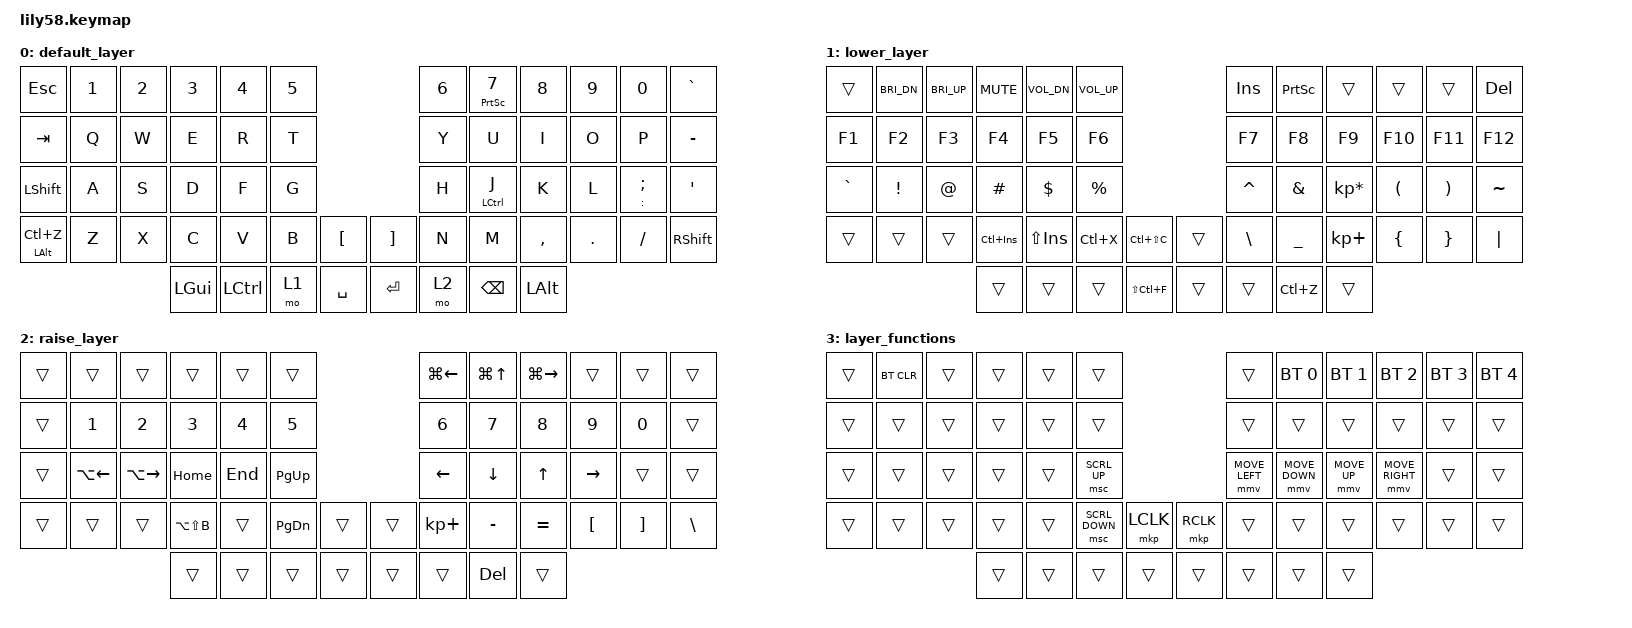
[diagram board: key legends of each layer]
/*
 * Copyright (c) 2020 The ZMK Contributors
 *
 * SPDX-License-Identifier: MIT
 */

#include <behaviors.dtsi>
#include <dt-bindings/zmk/bt.h>
#include <dt-bindings/zmk/keys.h>
#include <dt-bindings/zmk/pointing.h>
#include <dt-bindings/zmk/pointing.h>
#include <dt-bindings/zmk/pointing.h>

/ {
    combos {
        compatible = "zmk,combos";

        move-left-screen {
            bindings = <&kp LA(LC(LEFT))>;
            key-positions = <53>;
            layers = <3>;
        };

        move-right-screen {
            bindings = <&kp LA(LC(RIGHT))>;
            key-positions = <54>;
            layers = <3>;
        };

        copy-fn {
            bindings = <&kp LS(LC(C))>;
            key-positions = <39>;
            layers = <1>;
        };

        paste-fn {
            bindings = <&kp LS(LC(V))>;
            key-positions = <40>;
            layers = <1>;
        };

        left-brackets {
            bindings = <&kp LEFT_BRACE>;
            key-positions = <15 16>;
            layers = <0>;
        };

        right-brace {
            bindings = <&kp RIGHT_BRACE>;
            key-positions = <19 20>;
            layers = <0>;
        };

        pipe {
            bindings = <&kp PIPE>;
            key-positions = <26 27>;
            layers = <0>;
        };

        back-slash {
            bindings = <&kp BACKSLASH>;
            key-positions = <32 33>;
            layers = <0>;
        };

        left-parentses {
            bindings = <&kp LEFT_PARENTHESIS>;
            key-positions = <39 40>;
            layers = <0>;
        };

        right-parentses {
            bindings = <&kp RIGHT_PARENTHESIS>;
            key-positions = <45 46>;
            layers = <0>;
        };
    };

    behaviors {
        hm: hm {
            compatible = "zmk,behavior-hold-tap";
            label = "HM";
            #binding-cells = <2>;
            tapping-term-ms = <200>;
            bindings = <&kp>, <&kp>;

            flavor = "tap-preferred";
        };
    };

    keymap {
        compatible = "zmk,keymap";

        default_layer {
            // ------------------------------------------------------------------------------------------------------------
            // |  ESC  |  1  |  2  |  3   |  4   |  5   |                   |  6   |  7    |  8    |  9   |   0   |   `   |
            // |  TAB  |  Q  |  W  |  E   |  R   |  T   |                   |  Y   |  U    |  I    |  O   |   P   |   -   |
            // |  CTRL |  A  |  S  |  D   |  F   |  G   |                   |  H   |  J    |  K    |  L   |   ;   |   '   |
            // | SHIFT |  Z  |  X  |  C   |  V   |  B   |   "["  |  |  "]"  |  N   |  M    |  ,    |  .   |   /   | SHIFT |
            //                     | ALT  | GUI  | LOWER|  SPACE |  | ENTER | RAISE| BSPC  | GUI   |

            bindings = <
&kp ESC             &kp N1  &kp N2  &kp N3    &kp N4     &kp N5                                         &kp N6  &hm PRINTSCREEN N7  &kp N8        &kp N9   &kp N0               &kp GRAVE
&kp TAB             &kp Q   &kp W   &kp E     &kp R      &kp T                                          &kp Y   &kp U               &kp I         &kp O    &kp P                &kp MINUS
&kp LEFT_SHIFT      &kp A   &kp S   &kp D     &kp F      &kp G                                          &kp H   &hm LCTRL J         &kp K         &kp L    &hm COLON SEMICOLON  &kp SQT
&hm LEFT_ALT LC(Z)  &kp Z   &kp X   &kp C     &kp V      &kp B   &kp LEFT_BRACKET    &kp RIGHT_BRACKET  &kp N   &kp M               &kp COMMA     &kp DOT  &kp FSLH             &kp RIGHT_SHIFT
                                    &kp LGUI  &kp LCTRL  &mo 1   &kp SPACE           &kp RET            &mo 2   &kp BSPC            &kp LEFT_ALT
            >;
        };

        lower_layer {
            // --------------------------------------------------------------------------------------------------------------
            // | LPAD  | BRDn | BRUp |  MUT |  Vo- |  Vo+ |                   |      |       |       |      |       |       |
            // |  F1   |  F2  |  F3  |  F4  |  F5  |  F6  |                   |  F7  |  F8   |  F9   |  F10 |  F11  |  F12  |
            // |   `   |  !   |  @   |  #   |  $   |  %   |                   |  ^   |  &    |  *    |  (   |   )   |   ~   |
            // |       |      |      |      |      |      |        |  |       |      |  _    |  +    |  {   |   }   |  "|"  |
            //                       |      |      |      |        |  |       |      |       |       |

            bindings = <
&trans     &kp C_BRI_DN  &kp C_BRI_UP  &kp C_MUTE      &kp C_VOL_DN    &kp C_VOL_UP                           &kp INSERT     &kp PRINTSCREEN  &trans           &trans    &trans    &kp DEL
&kp F1     &kp F2        &kp F3        &kp F4          &kp F5          &kp F6                                 &kp F7         &kp F8           &kp F9           &kp F10   &kp F11   &kp F12
&kp GRAVE  &kp EXCL      &kp AT        &kp HASH        &kp DOLLAR      &kp PRCNT                              &kp CARET      &kp AMPS         &kp KP_MULTIPLY  &kp LPAR  &kp RPAR  &kp TILDE
&trans     &trans        &trans        &kp LC(INSERT)  &kp LS(INSERT)  &kp LC(X)     &kp LC(LS(C))    &trans  &kp BACKSLASH  &kp UNDER        &kp KP_PLUS      &kp LBRC  &kp RBRC  &kp PIPE
                                       &trans          &trans          &trans        &kp LS(LC(F))    &trans  &trans         &kp LC(Z)        &trans
            >;
        };

        raise_layer {
            // ------------------------------------------------------------------------------------------------------------
            // |       |     |     |      |      |      |                   |      |       |       |      |       |       |
            // |   `   |  1  |  2  |  3   |  4   |  5   |                   |  6   |   7   |   8   |  9   |   0   |       |
            // |   F1  |  F2 |  F3 |  F4  |  F5  |  F6  |                   |      |   <-  |   v   |  ^   |  ->   |       |
            // |   F7  |  F8 |  F9 |  F10 |  F11 |  F12 |        |  |       |  +   |   -   |   =   |  [   |   ]   |   \   |
            //                     |      |      |      |        |  |       |      |       |       |

            bindings = <
&trans  &trans              &trans         &trans         &trans        &trans                           &kp LG(LEFT_ARROW)  &kp LG(UP_ARROW)  &kp LG(RIGHT)  &trans     &trans    &trans
&trans  &kp NUMBER_1        &kp NUMBER_2   &kp NUMBER_3   &kp NUMBER_4  &kp N5                           &kp N6              &kp N7            &kp N8         &kp N9     &kp N0    &trans
&trans  &kp LA(LEFT_ARROW)  &kp LA(RIGHT)  &kp HOME       &kp END       &kp PAGE_UP                      &kp LEFT            &kp DOWN          &kp UP         &kp RIGHT  &trans    &trans
&trans  &trans              &trans         &kp LA(LS(B))  &trans        &kp PAGE_DOWN  &trans    &trans  &kp KP_PLUS         &kp MINUS         &kp EQUAL      &kp LBKT   &kp RBKT  &kp BSLH
                                           &trans         &trans        &trans         &trans    &trans  &trans              &kp DELETE        &trans
            >;
        };

        layer_functions {
            bindings = <
&trans  &bt BT_CLR  &trans  &trans  &trans  &trans                                  &trans          &bt BT_SEL 0    &bt BT_SEL 1  &bt BT_SEL 2     &bt BT_SEL 3  &bt BT_SEL 4
&trans  &trans      &trans  &trans  &trans  &trans                                  &trans          &trans          &trans        &trans           &trans        &trans
&trans  &trans      &trans  &trans  &trans  &msc SCRL_UP                            &mmv MOVE_LEFT  &mmv MOVE_DOWN  &mmv MOVE_UP  &mmv MOVE_RIGHT  &trans        &trans
&trans  &trans      &trans  &trans  &trans  &msc SCRL_DOWN  &mkp LCLK    &mkp RCLK  &trans          &trans          &trans        &trans           &trans        &trans
                            &trans  &trans  &trans          &trans       &trans     &trans          &trans          &trans
            >;
        };
    };

    conditional_layers {
        compatible = "zmk,conditional-layers";

        activate_layer_function {
            if-layers = <1 2>;
            then-layer = <3>;
        };
    };
};
